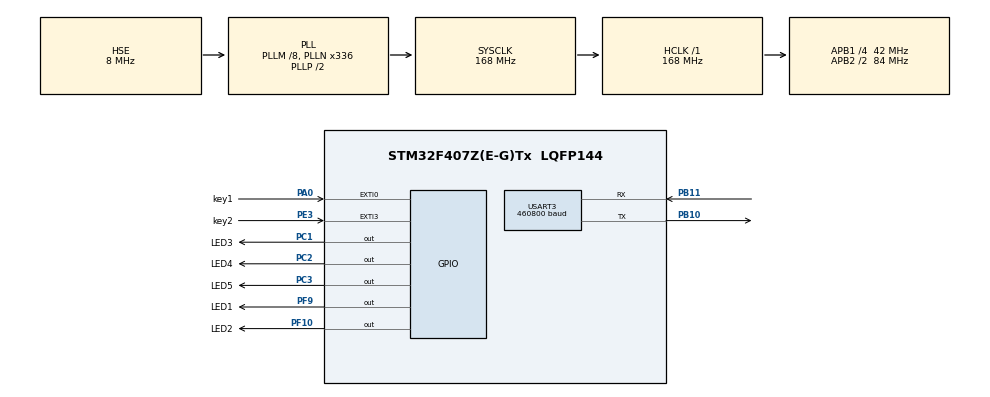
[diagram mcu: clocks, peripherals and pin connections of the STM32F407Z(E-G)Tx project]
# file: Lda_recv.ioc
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Dma.Request0=USART3_RX
Dma.USART3_RX.0.Direction=DMA_PERIPH_TO_MEMORY
Dma.USART3_RX.0.FIFOMode=DMA_FIFOMODE_DISABLE
Dma.USART3_RX.0.Instance=DMA1_Stream1
Dma.USART3_RX.0.MemDataAlignment=DMA_MDATAALIGN_BYTE
Dma.USART3_RX.0.MemInc=DMA_MINC_ENABLE
Dma.USART3_RX.0.Mode=DMA_NORMAL
Dma.USART3_RX.0.PeriphDataAlignment=DMA_PDATAALIGN_BYTE
Dma.USART3_RX.0.PeriphInc=DMA_PINC_DISABLE
Dma.USART3_RX.0.Priority=DMA_PRIORITY_HIGH
Mcu.Family=STM32F4
Mcu.Name=STM32F407Z(E-G)Tx
Mcu.Package=LQFP144
NVIC.DMA1_Stream1_IRQn=true\:0\:0\:false\:false\:true\:true
NVIC.EXTI0_IRQn=true\:1\:1\:true\:false\:true\:true
NVIC.EXTI3_IRQn=true\:1\:0\:true\:false\:true\:true
NVIC.PriorityGroup=NVIC_PRIORITYGROUP_2
NVIC.USART3_IRQn=true\:2\:0\:true\:false\:true\:true
PA0-WKUP.GPIO_Label=key1
PA0-WKUP.GPIO_ModeDefaultEXTI=GPIO_MODE_IT_RISING
PA0-WKUP.GPIO_PuPd=GPIO_PULLDOWN
PA0-WKUP.Signal=GPXTI0
PB10.Mode=Asynchronous
PB10.Signal=USART3_TX
PB11.Mode=Asynchronous
PB11.Signal=USART3_RX
PC1.GPIO_Label=LED3
PC1.PinState=GPIO_PIN_SET
PC1.Signal=GPIO_Output
PC2.GPIO_Label=LED4
PC2.PinState=GPIO_PIN_SET
PC2.Signal=GPIO_Output
PC3.GPIO_Label=LED5
PC3.PinState=GPIO_PIN_SET
PC3.Signal=GPIO_Output
PE3.GPIO_Label=key2
PE3.GPIO_ModeDefaultEXTI=GPIO_MODE_IT_FALLING
PE3.GPIO_PuPd=GPIO_PULLUP
PE3.Signal=GPXTI3
PF10.GPIO_Label=LED2
PF10.PinState=GPIO_PIN_SET
PF10.Signal=GPIO_Output
PF9.GPIO_Label=LED1
PF9.PinState=GPIO_PIN_SET
PF9.Signal=GPIO_Output
PH0-OSC_IN.Mode=HSE-External-Oscillator
PH0-OSC_IN.Signal=RCC_OSC_IN
PH1-OSC_OUT.Mode=HSE-External-Oscillator
PH1-OSC_OUT.Signal=RCC_OSC_OUT
ProjectManager.HeapSize=0x200
ProjectManager.StackSize=0x400
ProjectManager.TargetToolchain=MDK-ARM V5
RCC.48MHZClocksFreq_Value=84000000
RCC.AHBFreq_Value=168000000
RCC.APB1CLKDivider=RCC_HCLK_DIV4
RCC.APB1Freq_Value=42000000
RCC.APB1TimFreq_Value=84000000
RCC.APB2CLKDivider=RCC_HCLK_DIV2
RCC.APB2Freq_Value=84000000
RCC.APB2TimFreq_Value=168000000
RCC.CortexFreq_Value=168000000
RCC.EnbaleCSS=true
RCC.HCLKFreq_Value=168000000
RCC.HSE_VALUE=8000000
RCC.HSI_VALUE=16000000
RCC.LSE_VALUE=32768
RCC.PLLM=8
RCC.PLLN=336
RCC.PLLSourceVirtual=RCC_PLLSOURCE_HSE
RCC.SYSCLKFreq_VALUE=168000000
RCC.SYSCLKSource=RCC_SYSCLKSOURCE_PLLCLK
RCC.VCOOutputFreq_Value=336000000
USART3.BaudRate=460800
USART3.VirtualMode=VM_ASYNC
board=Lda_recv

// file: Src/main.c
/**
  ******************************************************************************
  * File Name          : main.c
  * Description        : Main program body
  ******************************************************************************
  ** This notice applies to any and all portions of this file
  * that are not between comment pairs USER CODE BEGIN and
  * USER CODE END. Other portions of this file, whether
  * inserted by the user or by software development tools
  * are owned by their respective copyright owners.
  *
  * COPYRIGHT(c) 2017 STMicroelectronics
  *
  * Redistribution and use in source and binary forms, with or without modification,
  * are permitted provided that the following conditions are met:
  *   1. Redistributions of source code must retain the above copyright notice,
  *      this list of conditions and the following disclaimer.
  *   2. Redistributions in binary form must reproduce the above copyright notice,
  *      this list of conditions and the following disclaimer in the documentation
  *      and/or other materials provided with the distribution.
  *   3. Neither the name of STMicroelectronics nor the names of its contributors
  *      may be used to endorse or promote products derived from this software
  *      without specific prior written permission.
  *
  * THIS SOFTWARE IS PROVIDED BY THE COPYRIGHT HOLDERS AND CONTRIBUTORS "AS IS"
  * AND ANY EXPRESS OR IMPLIED WARRANTIES, INCLUDING, BUT NOT LIMITED TO, THE
  * IMPLIED WARRANTIES OF MERCHANTABILITY AND FITNESS FOR A PARTICULAR PURPOSE ARE
  * DISCLAIMED. IN NO EVENT SHALL THE COPYRIGHT HOLDER OR CONTRIBUTORS BE LIABLE
  * FOR ANY DIRECT, INDIRECT, INCIDENTAL, SPECIAL, EXEMPLARY, OR CONSEQUENTIAL
  * DAMAGES (INCLUDING, BUT NOT LIMITED TO, PROCUREMENT OF SUBSTITUTE GOODS OR
  * SERVICES; LOSS OF USE, DATA, OR PROFITS; OR BUSINESS INTERRUPTION) HOWEVER
  * CAUSED AND ON ANY THEORY OF LIABILITY, WHETHER IN CONTRACT, STRICT LIABILITY,
  * OR TORT (INCLUDING NEGLIGENCE OR OTHERWISE) ARISING IN ANY WAY OUT OF THE USE
  * OF THIS SOFTWARE, EVEN IF ADVISED OF THE POSSIBILITY OF SUCH DAMAGE.
  *
  ******************************************************************************
  */
#include "main.h"
#include "stm32f4xx_hal.h"
#include "dma.h"
#include "usart.h"
#include "gpio.h"

/* USER CODE BEGIN Includes */
#include "exti.h"
#include "emg.h"
/* USER CODE END Includes */

/* USER CODE BEGIN PV */
/* Private variables ---------------------------------------------------------*/
uint8_t predict[1000]={0};
uint8_t motiondetect=0;
/* USER CODE END PV */

void SystemClock_Config(void);

/* USER CODE BEGIN PFP */
/* Private function prototypes -----------------------------------------------*/

/* USER CODE END PFP */

int main(void)
{

  /* USER CODE BEGIN 1 */
  uint16_t i=0;
  /* USER CODE END 1 */

  /* MCU Configuration----------------------------------------------------------*/

  /* Reset of all peripherals, Initializes the Flash interface and the Systick. */
  HAL_Init();

  /* Configure the system clock */
  SystemClock_Config();

  /* Initialize all configured peripherals */
  MX_GPIO_Init();
  MX_DMA_Init();
  MX_USART3_UART_Init();

  /* USER CODE BEGIN 2 */
	initiate_filter();//滤波器初始化
  HAL_UART_Receive_DMA(&huart3,recv_buff,recv_buff_index_max);
  /* USER CODE END 2 */

  /* Infinite loop */
  while (1)
  {

  /* USER CODE BEGIN 3 */
		if(DMA_recv_complete_flag)
		{
		 HAL_UART_Receive_DMA(&huart3,recv_buff,recv_buff_index_max);
		 deal_with_recv_buff();
		 DMA_recv_complete_flag = 0;

		}

    if(trainig_flag ==1)
	{

		  //trainig_flag=0;
		if(data_full_flag==1)
		{
			data_full_flag=0;
			if((count_temp+3)%50>=9)//count_temp=6-46, 56-96.............
			{
			  feature_extraction();
			  for(i=0;i<32;i++)
			  {
				feat_matrix[window_count][i]=feat[i];

			  }
			  window_count++;
			}
		}
       if(window_count==410&&dur==0)
		    LDA_train(feat_matrix);
	}
  if(testing_flag==1)
  {

	  if(data_full_flag==1)
	  {
		  data_full_flag=0;
	    feature_extraction();
		predict[count%1000]=LDA_predict(feat);
		  motiondetect=predict[count%1000];
		  if(count>4&&predict[count%1000]==predict[(count-1)%1000]&&
		  predict[(count-1)%1000]==predict[(count-2)%1000]&&
	      predict[(count-2)%1000]==predict[(count-3)%1000]&&
	      predict[(count-3)%1000]==predict[(count-4)%1000]&&
	      predict[(count-4)%1000]==predict[(count-5)%1000])
	     {
		  switch(motiondetect)
		  {
			case 0:
//			  USART_SendData(USART1, 'N');
			  //模式1
		    {LED3=1;LED4=1;LED5=1;LED3=0;LED4=1;LED5=1;}
			  break;
			case 1:
//			  USART_SendData(USART1, 'P');
			  //模式2
		    {LED3=1;LED4=1;LED5=1;LED3=1;LED4=0;LED5=1;}
			  break;
			case 2:
//			  USART_SendData(USART1, 'R');
		    //模式3
		    {LED3=1;LED4=1;LED5=1;LED3=0;LED4=0;LED5=1;}
			  break;
			case 3:
//			  USART_SendData(USART1, 'T');
			  //模式4
		    {LED3=1;LED4=1;LED5=1;LED3=1;LED4=1;LED5=0;}
			  break;
			case 4:
//			  USART_SendData(USART1, 'B');
			  //模式5
		    {LED3=1;LED4=1;LED5=1;LED3=0;LED4=1;LED5=0;}
			  break;
			case 5:
//			  USART_SendData(USART1, '0');
			  //模式6
		    {LED3=1;LED4=1;LED5=1;LED3=1;LED4=0;LED5=0;}
			  break;
		    default:
		      break;
		  }
	    }
		  if(count ==409)
		  {

			  LED0 =0;//提示数据结束了，等待下一次按键
//				PFout(11)=0;delay_ms(100);PFout(8)=0;delay_ms(100);PFout(7)=0;delay_ms(100);
//	      PFout(11)=1;delay_ms(100);PFout(8)=1;delay_ms(100);PFout(7)=1;delay_ms(100);

		  }

	  }
  }

  }
  /* USER CODE END 3 */

}

/** System Clock Configuration
*/
void SystemClock_Config(void)
{

  RCC_OscInitTypeDef RCC_OscInitStruct;
  RCC_ClkInitTypeDef RCC_ClkInitStruct;

    /**Configure the main internal regulator output voltage
    */
  __HAL_RCC_PWR_CLK_ENABLE();

  __HAL_PWR_VOLTAGESCALING_CONFIG(PWR_REGULATOR_VOLTAGE_SCALE1);

    /**Initializes the CPU, AHB and APB busses clocks
    */
  RCC_OscInitStruct.OscillatorType = RCC_OSCILLATORTYPE_HSE;
  RCC_OscInitStruct.HSEState = RCC_HSE_ON;
  RCC_OscInitStruct.PLL.PLLState = RCC_PLL_ON;
  RCC_OscInitStruct.PLL.PLLSource = RCC_PLLSOURCE_HSE;
  RCC_OscInitStruct.PLL.PLLM = 8;
  RCC_OscInitStruct.PLL.PLLN = 336;
  RCC_OscInitStruct.PLL.PLLP = RCC_PLLP_DIV2;
  RCC_OscInitStruct.PLL.PLLQ = 4;
  if (HAL_RCC_OscConfig(&RCC_OscInitStruct) != HAL_OK)
  {
    _Error_Handler(__FILE__, __LINE__);
  }

    /**Initializes the CPU, AHB and APB busses clocks
    */
  RCC_ClkInitStruct.ClockType = RCC_CLOCKTYPE_HCLK|RCC_CLOCKTYPE_SYSCLK
                              |RCC_CLOCKTYPE_PCLK1|RCC_CLOCKTYPE_PCLK2;
  RCC_ClkInitStruct.SYSCLKSource = RCC_SYSCLKSOURCE_PLLCLK;
  RCC_ClkInitStruct.AHBCLKDivider = RCC_SYSCLK_DIV1;
  RCC_ClkInitStruct.APB1CLKDivider = RCC_HCLK_DIV4;
  RCC_ClkInitStruct.APB2CLKDivider = RCC_HCLK_DIV2;

  if (HAL_RCC_ClockConfig(&RCC_ClkInitStruct, FLASH_LATENCY_5) != HAL_OK)
  {
    _Error_Handler(__FILE__, __LINE__);
  }

    /**Enables the Clock Security System
    */
  HAL_RCC_EnableCSS();

    /**Configure the Systick interrupt time
    */
  HAL_SYSTICK_Config(HAL_RCC_GetHCLKFreq()/1000);

    /**Configure the Systick
    */
  HAL_SYSTICK_CLKSourceConfig(SYSTICK_CLKSOURCE_HCLK);

  /* SysTick_IRQn interrupt configuration */
  HAL_NVIC_SetPriority(SysTick_IRQn, 0, 0);
}

void _Error_Handler(char * file, int line)
{
  while(1)
  {
  }
}

/************************ (C) COPYRIGHT STMicroelectronics *****END OF FILE****/
